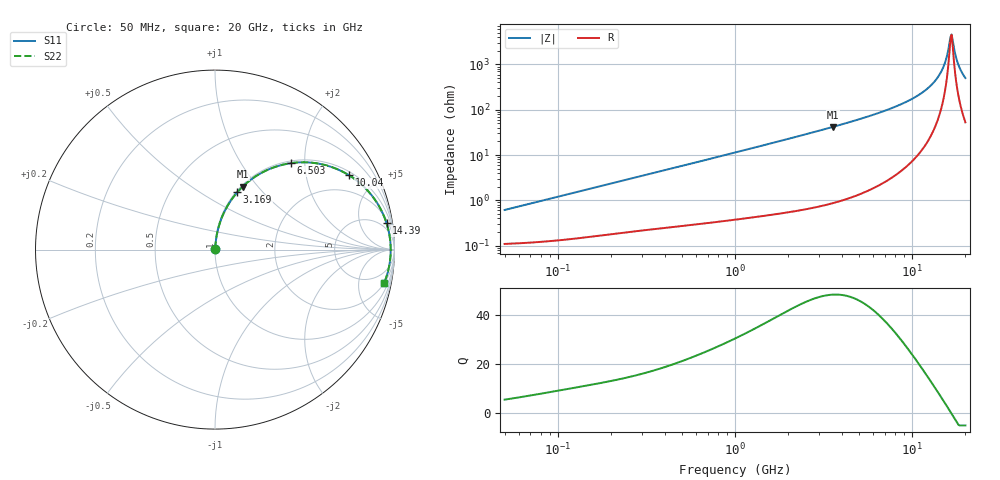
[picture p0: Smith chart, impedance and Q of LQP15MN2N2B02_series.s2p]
!Murata Part Number: LQP15MN2N2B02
!These Parameters are Measured in Series Mode Connection
!  o--[Z]--o
!Port1  Port2
!  o-------o
!Freq. Start=50[MHz] Stop=20[GHz], 401[Steps]
# Hz S RI R 50
!Freq.(Hz) S11(Real) S11(Imag) S21(Real) S21(Imag) S12(Real) S12(Imag) S22(Real) S22(Imag)
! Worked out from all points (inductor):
!   401 points, 50 MHz to 20 GHz, reference 50 ohm
!   read as one part in series: L = 1.91 nH near 51.52 MHz
!   highest Q = 48.4 at 3.572 GHz (marker M1), where L = 1.86 nH
!   self-resonance near 16.46 GHz
!   S11 on the Smith chart (normalised r, x): 50 MHz: 1.00, +0.01; 3.169 GHz: 1.02, +0.73; 6.503 GHz: 1.04, +1.71; 10.04 GHz: 1.15, +3.51; 14.39 GHz: 3, +12; 20 GHz: 2, -10
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5e7  0.00112 0.006  0.9989 -0.006  0.9989 -0.006  0.00112 0.006
1.364002e8  0.00174 0.0161  0.9983 -0.0161  0.9983 -0.0161  0.00174 0.0161
3.721004e8  0.00418 0.0425  0.9958 -0.0425  0.9958 -0.0425  0.00418 0.0425
1e9  0.0162 0.111  0.9838 -0.111  0.9838 -0.111  0.0162 0.111
2.728004e9  0.0944 0.2818  0.9056 -0.2818  0.9056 -0.2818  0.0944 0.2818
3.168813e9  0.1239 0.3192  0.8761 -0.3192  0.8761 -0.3192  0.1239 0.3192
3.572216e9  0.1539 0.3506  0.8461 -0.3506  0.8461 -0.3506  0.1539 0.3506
4.89267e9  0.2673 0.4319  0.7327 -0.4319  0.7327 -0.4319  0.2673 0.4319
6.503449e9  0.4244 0.4819  0.5756 -0.4819  0.5756 -0.4819  0.4244 0.4819
7.442007e9  0.5173 0.4859  0.4827 -0.4859  0.4827 -0.4859  0.5173 0.4859
1.004137e10  0.7464 0.4146  0.2536 -0.4146  0.2536 -0.4146  0.7464 0.4146
1.238412e10  0.8887 0.2815  0.1113 -0.2815  0.1113 -0.2815  0.8887 0.2815
1.354865e10  0.9335 0.2046  0.0665 -0.2046  0.0665 -0.2046  0.9335 0.2046
1.438523e10  0.9556 0.1481  0.0444 -0.1481  0.0444 -0.1481  0.9556 0.1481
1.527346e10  0.9706 0.0887  0.0294 -0.0887  0.0294 -0.0887  0.9706 0.0887
1.621653e10  0.9782 0.0275  0.0218 -0.0275  0.0218 -0.0275  0.9782 0.0275
1.670968e10  0.979 -0.00343  0.021 0.00343  0.021 0.00343  0.979 -0.00343
1.696185e10  0.9787 -0.0189  0.0213 0.0189  0.0213 0.0189  0.9787 -0.0189
1.774144e10  0.9748 -0.0651  0.0252 0.0651  0.0252 0.0651  0.9748 -0.0651
1.828096e10  0.9698 -0.0955  0.0302 0.0955  0.0302 0.0955  0.9698 -0.0955
1.912117e10  0.9588 -0.1402  0.0412 0.1402  0.0412 0.1402  0.9588 -0.1402
2e10  0.9438 -0.1834  0.0562 0.1834  0.0562 0.1834  0.9438 -0.1834
